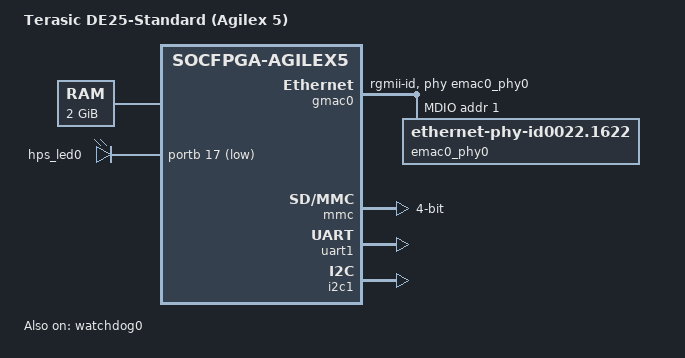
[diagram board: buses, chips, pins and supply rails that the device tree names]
// SPDX-License-Identifier: GPL-2.0-only
/*
 * Linux device tree for the Terasic DE25-Standard (Agilex 5 SoC),
 * matching the `de25_soc` FPGA build in this repo (hps/hps_subsystem.qsys):
 *   HPS peripherals: EMAC0 (RGMII+MDIO), SD/MMC 4-bit, UART1 console, I2C1.
 *   No USB0 / SPIM0 in this pin mux (unlike the DE25-Nano's) - don't
 *   enable &usb0 / &spi0, they aren't routed to any pins.
 *   FPGA<->HPS bridges: H2F / F2SDRAM / F2H(ACE5-Lite) disabled. LWH2F is
 *   enabled on the FPGA side (hps/README.md) but there is deliberately no
 *   soc2fpga / lwsoc2fpga device node here yet - nothing in the fabric is
 *   listening on it.  The base fpga-region / fpga-mgr from
 *   socfpga_agilex5.dtsi stay (passive until an overlay loads a bitstream).
 *
 * FIRST CUT - derived from Terasic's socfpga_agilex5_de25_nano.dts.
 * Verify against the DE25-Standard schematic before trusting on HW:
 *   - Ethernet PHY MDIO address (KSZ9031RNX; assumed 1 here)
 *   - RGMII skew / any board strapping
 *   - SD card-detect / write-protect GPIO (none wired here)
 */

#include "socfpga_agilex5.dtsi"

/ {
	model = "Terasic DE25-Standard (Agilex 5)";
	compatible = "terasic,de25-standard", "intel,socfpga-agilex5";

	aliases {
		serial0 = &uart1;
		ethernet0 = &gmac0;
	};

	chosen {
		stdout-path = "serial0:115200n8";
		/*
		 * bootargs are set by U-Boot (see linux/de25_uboot.config-fragment).
		 * UART1 (HPS pin mux) is at 0x10c02100 - the stock de25_nano DT
		 * copied the dev-kit's 0x10c02000 (UART0) by mistake.
		 */
	};

	memory {
		device_type = "memory";
		/* filled in by U-Boot from the EMIF handoff */
		reg = <0 0x80000000 0 0x80000000>;
	};

	leds {
		compatible = "gpio-leds";
		hps0 {
			label = "hps_led0";
			/* HPS_LED = hps_io_gpio41 = GPIO1 (portb) bit 17 */
			gpios = <&portb 17 GPIO_ACTIVE_LOW>;
		};
	};
};

&osc1 {
	clock-frequency = <25000000>;		/* HPS_CLK_25 */
};

&gpio1 {
	status = "okay";
};

&gmac0 {
	status = "okay";
	phy-mode = "rgmii-id";
	phy-handle = <&emac0_phy0>;
	max-frame-size = <9000>;

	mdio0 {
		#address-cells = <1>;
		#size-cells = <0>;
		compatible = "snps,dwmac-mdio";

		emac0_phy0: ethernet-phy@1 {
			compatible = "ethernet-phy-id0022.1622";	/* Micrel KSZ9031 */
			reg = <1>;
		};
	};
};

&mmc {
	status = "okay";
	bus-width = <4>;
	no-1-8-v;
	cap-sd-highspeed;
	disable-wp;
	sd-uhs-sdr50;
	no-sdio;
	/* Cadence SD-PHY tuning - carried verbatim from the de25_nano DT */
	cdns,phy-use-ext-lpbk-dqs = <1>;
	cdns,phy-use-lpbk-dqs = <1>;
	cdns,phy-use-phony-dqs = <1>;
	cdns,phy-use-phony-dqs-cmd = <1>;
	cdns,phy-io-mask-always-on = <0>;
	cdns,phy-io-mask-end = <5>;
	cdns,phy-io-mask-start = <0>;
	cdns,phy-data-select-oe-end = <1>;
	cdns,phy-sync-method = <1>;
	cdns,phy-sw-half-cycle-shift = <0>;
	cdns,phy-rd-del-sel = <52>;
	cdns,phy-underrun-suppress = <1>;
	cdns,phy-gate-cfg-always-on = <1>;
	cdns,phy-param-dll-bypass-mode = <1>;
	cdns,phy-param-phase-detect-sel = <2>;
	cdns,phy-param-dll-start-point = <254>;
	cdns,hrs09-rddata-en = <1>;
	cdns,hrs09-rdcmd-en = <1>;
	cdns,hrs09-extended-wr-mode = <1>;
	cdns,hrs09-extended-rd-mode = <1>;
	cdns,hrs10-hcsdclkadj = <3>;
	cdns,hrs07-rw-compensate = <10>;
	cdns,hrs07-idelay-val = <0>;
};

&uart1 {
	status = "okay";
};

&i2c1 {
	status = "okay";
	/* on-board I2C devices (accelerometer, etc.) - add per schematic */
};

/*
 * SPIM0 and USB0 are not in this build's HPS pin mux (see hps/README.md) -
 * leave &spi0 / &usb0 at their dtsi default (disabled).
 */

&smmu {
	status = "okay";
};

&watchdog0 {
	status = "okay";
};
